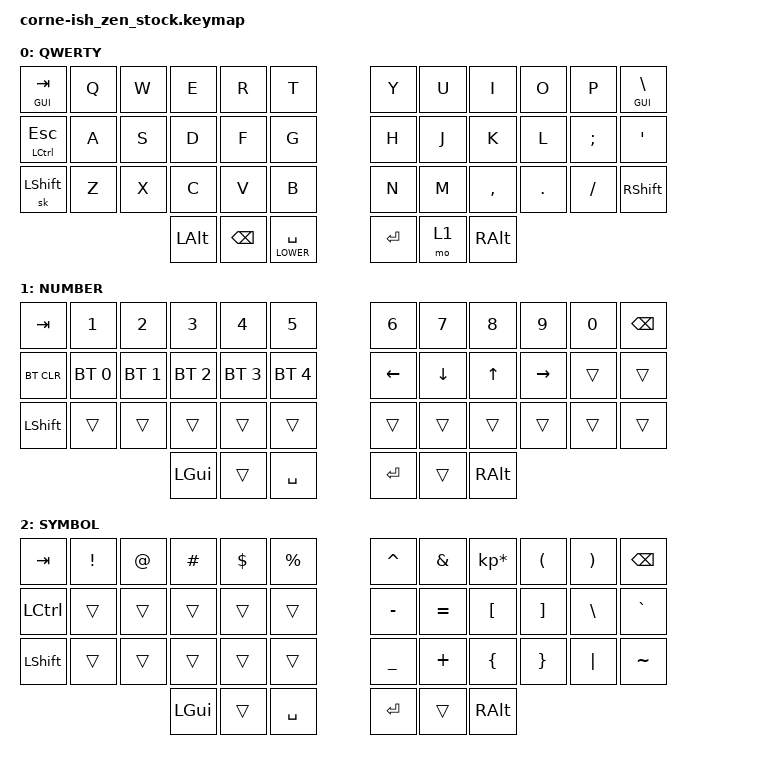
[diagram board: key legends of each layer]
/*
*
* Copyright (c) 2021 Darryl deHaan
* SPDX-License-Identifier: MIT
*
*/

#include <behaviors.dtsi>
#include <dt-bindings/zmk/keys.h>
#include <dt-bindings/zmk/bt.h>

#define DEFAULT 0
#define LOWER   1
#define RAISE   2

&sk {
    release-after-ms = 1000;
};

/ {
        keymap {
                compatible = "zmk,keymap";

                default_layer {
                        label = "QWERTY";
// -----------------------------------------------------------------------------------------
// |  TAB |  Q  |  W  |  E  |  R  |  T  |   |  Y  |  U   |  I  |  O  |  P  | \ GUI|
// | CTRL |  A  |  S  |  D  |  F  |  G  |   |  H  |  J   |  K  |  L  |  ;  |  '   |
// | SHFT |  Z  |  X  |  C  |  V  |  B  |   |  N  |  M   |  ,  |  .  |  /  | SHFT |
//                    | ALT | BSPC| SPC |   | ENT | RSE  | ALT |
                        bindings = <
   &mt GUI TAB   &kp Q &kp W &kp E &kp R &kp T       &kp Y &kp U  &kp I     &kp O   &kp P    &mt GUI BSLH
   &mt LCTRL ESC &kp A &kp S &kp D &kp F &kp G       &kp H &kp J  &kp K     &kp L   &kp SEMI &kp SQT
   &sk LSHFT     &kp Z &kp X &kp C &kp V &kp B       &kp N &kp M  &kp COMMA &kp DOT &kp FSLH &kp RSHIFT
                  &kp LALT &kp BSPC &lt LOWER SPACE   &kp RET &mo 1 &kp RALT
                        >;
                };
                lower_layer {
                        label = "NUMBER";
// -----------------------------------------------------------------------------------------
// |  TAB |  1  |  2  |  3  |  4  |  5  |   |  6  |  7  |  8  |  9  |  0  | BKSP |
// | BTCLR| BT1 | BT2 | BT3 | BT4 | BT5 |   | LFT | DWN |  UP | RGT |     |      |
// | SHFT |     |     |     |     |     |   |     |     |     |     |     |      |
//                    | GUI |     | SPC |   | ENT |     | ALT |
                        bindings = <
   &kp TAB    &kp N1       &kp N2       &kp N3       &kp N4       &kp N5         &kp N6   &kp N7   &kp N8 &kp N9    &kp N0 &kp BSPC
   &bt BT_CLR &bt BT_SEL 0 &bt BT_SEL 1 &bt BT_SEL 2 &bt BT_SEL 3 &bt BT_SEL 4   &kp LEFT &kp DOWN &kp UP &kp RIGHT &trans &trans
   &kp LSHFT  &trans       &trans       &trans       &trans       &trans         &trans   &trans   &trans &trans    &trans &trans
                          	        &kp LGUI     &trans       &kp SPACE      &kp RET  &trans   &kp RALT
                        >;
                };

                raise_layer {
                        label = "SYMBOL";
// -----------------------------------------------------------------------------------------
// |  TAB |  !  |  @  |  #  |  $  |  %  |   |  ^  |  &  |  *  |  (  |  )  | BKSP |
// | CTRL |     |     |     |     |     |   |  -  |  =  |  [  |  ]  |  \  |  `   |
// | SHFT |     |     |     |     |     |   |  _  |  +  |  {  |  }  | "|" |  ~   |
//                    | GUI |     | SPC |   | ENT |     | ALT |
                        bindings = <
   &kp  TAB  &kp EXCL &kp AT &kp HASH &kp DLLR &kp PRCNT   &kp CARET &kp AMPS  &kp KP_MULTIPLY &kp LPAR &kp RPAR &kp BSPC
   &kp LCTRL &trans   &trans &trans   &trans   &trans      &kp MINUS &kp EQUAL &kp LBKT        &kp RBKT &kp BSLH &kp GRAVE
   &kp LSHFT &trans   &trans &trans   &trans   &trans      &kp UNDER &kp PLUS  &kp LBRC        &kp RBRC &kp PIPE &kp TILDE
                    	     &kp LGUI &trans   &kp SPACE   &kp RET   &trans    &kp RALT
                        >;
                };
        };
};
